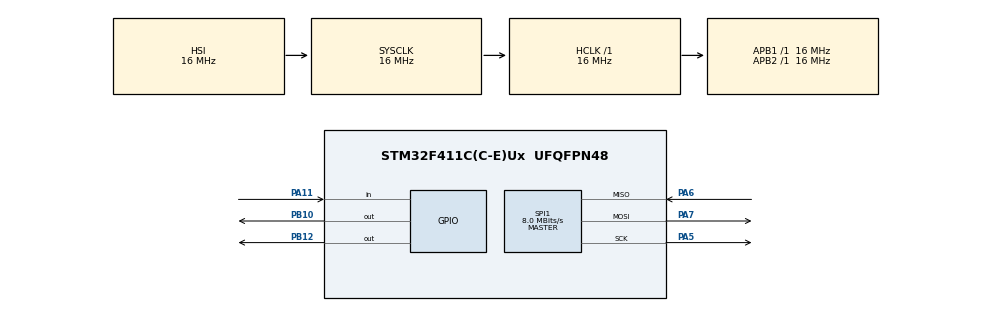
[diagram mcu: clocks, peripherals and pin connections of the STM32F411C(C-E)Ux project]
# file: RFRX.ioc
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Mcu.Family=STM32F4
Mcu.Name=STM32F411C(C-E)Ux
Mcu.Package=UFQFPN48
NVIC.PriorityGroup=NVIC_PRIORITYGROUP_4
PA11.GPIO_PuPd=GPIO_PULLUP
PA11.Signal=GPIO_Input
PA5.Mode=Full_Duplex_Master
PA5.Signal=SPI1_SCK
PA6.Mode=Full_Duplex_Master
PA6.Signal=SPI1_MISO
PA7.Mode=Full_Duplex_Master
PA7.Signal=SPI1_MOSI
PB10.Signal=GPIO_Output
PB12.Signal=GPIO_Output
ProjectManager.HeapSize=0x200
ProjectManager.StackSize=0x400
ProjectManager.TargetToolchain=STM32CubeIDE
RCC.AHBFreq_Value=16000000
RCC.APB1Freq_Value=16000000
RCC.APB2Freq_Value=16000000
RCC.CortexFreq_Value=16000000
RCC.HSE_VALUE=25000000
RCC.HSI_VALUE=16000000
RCC.LSE_VALUE=32768
RCC.SYSCLKFreq_VALUE=16000000
RCC.VCOOutputFreq_Value=192000000
SPI1.CalculateBaudRate=8.0 MBits/s
SPI1.Direction=SPI_DIRECTION_2LINES
SPI1.Mode=SPI_MODE_MASTER
SPI1.VirtualType=VM_MASTER
board=custom

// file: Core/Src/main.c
/* USER CODE BEGIN Header */
/* USER CODE END Header */
#include "main.h"

/* USER CODE BEGIN Includes */
#include "nrf24l01.h"
/* USER CODE END Includes */

/* USER CODE BEGIN PD */
#define SIZE_RX_BUF 1
/* USER CODE END PD */

SPI_HandleTypeDef hspi1;

/* USER CODE BEGIN PV */
nrf24 nrfRx;
uint8_t rx_data[SIZE_RX_BUF]={"1"};
uint8_t rxAddr[] = {0xEA, 0xDD, 0xCC, 0xBB, 0xAA};
/* USER CODE END PV */

void SystemClock_Config(void);
static void MX_GPIO_Init(void);
static void MX_SPI1_Init(void);

int main(void)
{
	//pines
	/*
	 * PA5 SCK
	 * PA6 MISO
	 * PA7 MOSI
	 *
	 * PB10 CE
	 * PA11 IRQ
	 * PB12 CSN
	 *
	 * */

  /* MCU Configuration--------------------------------------------------------*/

  /* Reset of all peripherals, Initializes the Flash interface and the Systick. */
  HAL_Init();

  /* Configure the system clock */
  SystemClock_Config();

  /* Initialize all configured peripherals */
  MX_GPIO_Init();
  MX_SPI1_Init();
  /* USER CODE BEGIN 2 */
  	  nrfRx.CE_port = GPIOB;
      nrfRx.CE_pin = GPIO_PIN_10;//DISPARA LA TRANSMISION
      nrfRx.CSN_port = GPIOB;
      nrfRx.CSN_pin = GPIO_PIN_12;//HABILITA LA COMUNICACION POR SPI
      nrfRx.IRQ_port=GPIOA;
      nrfRx.IRQ_pin = GPIO_PIN_11;//DETECTA SI SE RECIBIO ALGUN DATO
      nrfRx.hSPIx = &hspi1;
      	  NRF24_Init(&nrfRx);
      	NRF24_Set_RxPipe(&nrfRx, rxAddr, 0, SIZE_RX_BUF);
      	NRF24_Set_Mode(&nrfRx, RX_MODE);
      	/* USER CODE END 2 */

  /* Infinite loop */
  /* USER CODE BEGIN WHILE */
    	while(1)
    		{
    			if(NRF24_Available(&nrfRx, 0) == 1)
    			{
    				NRF24_Receive(&nrfRx, rx_data, SIZE_RX_BUF);
    			}
    		}
    /* USER CODE END WHILE */

}

void SystemClock_Config(void)
{
  RCC_OscInitTypeDef RCC_OscInitStruct = {0};
  RCC_ClkInitTypeDef RCC_ClkInitStruct = {0};

  /** Configure the main internal regulator output voltage
  */
  __HAL_RCC_PWR_CLK_ENABLE();
  __HAL_PWR_VOLTAGESCALING_CONFIG(PWR_REGULATOR_VOLTAGE_SCALE1);

  /** Initializes the RCC Oscillators according to the specified parameters
  * in the RCC_OscInitTypeDef structure.
  */
  RCC_OscInitStruct.OscillatorType = RCC_OSCILLATORTYPE_HSI;
  RCC_OscInitStruct.HSIState = RCC_HSI_ON;
  RCC_OscInitStruct.HSICalibrationValue = RCC_HSICALIBRATION_DEFAULT;
  RCC_OscInitStruct.PLL.PLLState = RCC_PLL_NONE;
  if (HAL_RCC_OscConfig(&RCC_OscInitStruct) != HAL_OK)
  {
    Error_Handler();
  }

  /** Initializes the CPU, AHB and APB buses clocks
  */
  RCC_ClkInitStruct.ClockType = RCC_CLOCKTYPE_HCLK|RCC_CLOCKTYPE_SYSCLK
                              |RCC_CLOCKTYPE_PCLK1|RCC_CLOCKTYPE_PCLK2;
  RCC_ClkInitStruct.SYSCLKSource = RCC_SYSCLKSOURCE_HSI;
  RCC_ClkInitStruct.AHBCLKDivider = RCC_SYSCLK_DIV1;
  RCC_ClkInitStruct.APB1CLKDivider = RCC_HCLK_DIV1;
  RCC_ClkInitStruct.APB2CLKDivider = RCC_HCLK_DIV1;

  if (HAL_RCC_ClockConfig(&RCC_ClkInitStruct, FLASH_LATENCY_0) != HAL_OK)
  {
    Error_Handler();
  }
}

static void MX_SPI1_Init(void)
{

  /* SPI1 parameter configuration*/
  hspi1.Instance = SPI1;
  hspi1.Init.Mode = SPI_MODE_MASTER;
  hspi1.Init.Direction = SPI_DIRECTION_2LINES;
  hspi1.Init.DataSize = SPI_DATASIZE_8BIT;
  hspi1.Init.CLKPolarity = SPI_POLARITY_LOW;
  hspi1.Init.CLKPhase = SPI_PHASE_1EDGE;
  hspi1.Init.NSS = SPI_NSS_SOFT;
  hspi1.Init.BaudRatePrescaler = SPI_BAUDRATEPRESCALER_2;
  hspi1.Init.FirstBit = SPI_FIRSTBIT_MSB;
  hspi1.Init.TIMode = SPI_TIMODE_DISABLE;
  hspi1.Init.CRCCalculation = SPI_CRCCALCULATION_DISABLE;
  hspi1.Init.CRCPolynomial = 10;
  if (HAL_SPI_Init(&hspi1) != HAL_OK)
  {
    Error_Handler();
  }

}

static void MX_GPIO_Init(void)
{
  GPIO_InitTypeDef GPIO_InitStruct = {0};

  /* GPIO Ports Clock Enable */
  __HAL_RCC_GPIOA_CLK_ENABLE();
  __HAL_RCC_GPIOB_CLK_ENABLE();

  /*Configure GPIO pin Output Level */
  HAL_GPIO_WritePin(GPIOB, GPIO_PIN_10|GPIO_PIN_12, GPIO_PIN_RESET);

  /*Configure GPIO pins : PB10 PB12 */
  GPIO_InitStruct.Pin = GPIO_PIN_10|GPIO_PIN_12;
  GPIO_InitStruct.Mode = GPIO_MODE_OUTPUT_PP;
  GPIO_InitStruct.Pull = GPIO_NOPULL;
  GPIO_InitStruct.Speed = GPIO_SPEED_FREQ_LOW;
  HAL_GPIO_Init(GPIOB, &GPIO_InitStruct);

  /*Configure GPIO pin : PA11 */
  GPIO_InitStruct.Pin = GPIO_PIN_11;
  GPIO_InitStruct.Mode = GPIO_MODE_INPUT;
  GPIO_InitStruct.Pull = GPIO_PULLUP;
  HAL_GPIO_Init(GPIOA, &GPIO_InitStruct);

}

void Error_Handler(void)
{
}
